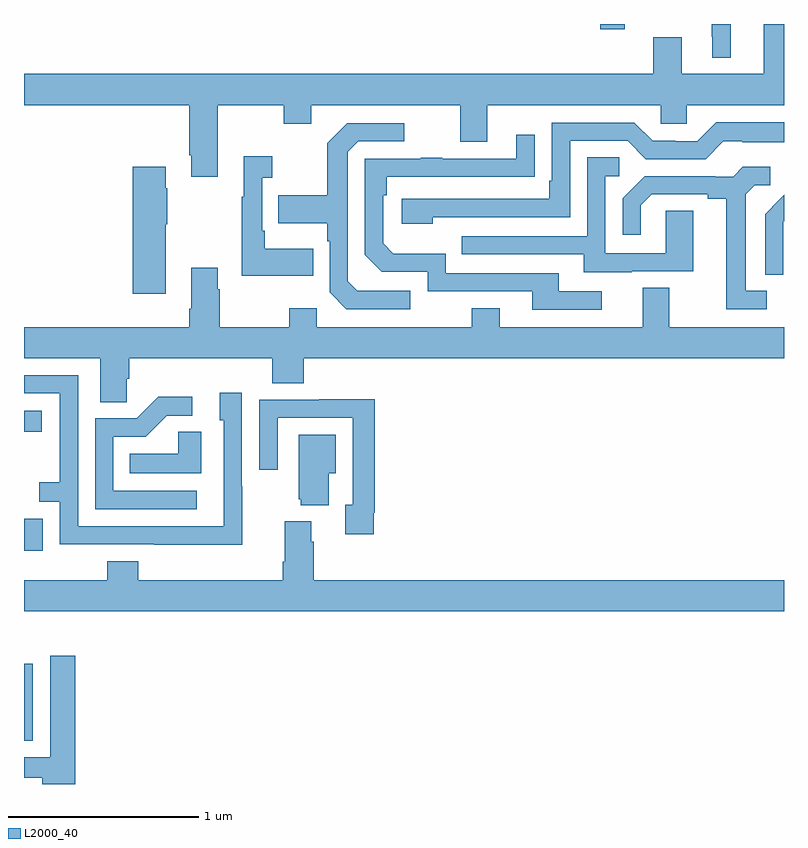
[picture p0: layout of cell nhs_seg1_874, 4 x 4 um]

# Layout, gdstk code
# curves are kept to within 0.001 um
import gdstk
lib = gdstk.Library(unit=1e-6, precision=1e-09)
def R(c, l, rs):  # rectangles x0, y0, x1, y1
    for r in rs: c.add(gdstk.rectangle(r[:2], r[2:], *l))
def P(c, l, *ps):  # polygons
    for p in ps: c.add(gdstk.Polygon(p, *l))
L2000_40 = (2000, 40)

nhs_seg1_874 = lib.new_cell('nhs_seg1_874')
R(nhs_seg1_874, L2000_40, [(159,508.426,159.046,508.831), (159,509.427,159.099,509.595), (159,510.053,159.094,510.163), (162.032,512.172,162.163,512.199)])
P(nhs_seg1_874, L2000_40, [(162.721,512.199),(162.619,512.199),(162.619,512.131),(162.623,512.131),(162.623,512.021),(162.721,512.021)],
  [(160.021,511.772),(160.366,511.772),(160.366,511.673),(160.513,511.673),(160.513,511.772),(161.297,511.772),(161.297,511.578),(161.437,511.578),(161.437,511.772),(162.351,511.772),(162.351,511.674),(162.489,511.674),(162.489,511.772),(163,511.772),(163,512.199),(162.893,512.199),(162.893,511.936),(162.463,511.936),(162.463,512.128),(162.311,512.128),(162.311,511.936),(159,511.936),(159,511.772),(159.869,511.772),(159.869,511.507),(159.881,511.507),(159.881,511.395),(160.021,511.395)],
  [(161.15,511.182),(161.874,511.182),(161.874,511.584),(162.177,511.584),(162.273,511.488),(162.588,511.488),(162.681,511.581),(162.781,511.581),(162.781,511.577),(163,511.577),(163,511.681),(162.643,511.681),(162.543,511.581),(162.428,511.581),(162.428,511.584),(162.309,511.584),(162.213,511.68),(161.778,511.68),(161.778,511.375),(161.765,511.375),(161.765,511.278),(160.989,511.278),(160.989,511.148),(161.15,511.148)],
  [(161.032,510.795),(160.755,510.795),(160.704,510.846),(160.704,511.527),(160.758,511.581),(161.002,511.581),(161.002,511.677),(160.701,511.677),(160.596,511.571),(160.596,511.299),(160.339,511.299),(160.339,511.151),(160.596,511.151),(160.596,511.055),(160.608,511.055),(160.608,510.786),(160.695,510.699),(161.032,510.699)],
  [(162.04,510.792),(161.815,510.792),(161.815,510.888),(161.22,510.888),(161.22,510.991),(160.943,510.991),(160.89,511.044),(160.89,511.298),(160.91,511.298),(160.91,511.395),(161.687,511.396),(161.687,511.615),(161.591,511.615),(161.591,511.491),(161.201,511.491),(161.201,511.496),(161.089,511.496),(161.089,511.491),(160.794,511.491),(160.794,510.984),(160.884,510.894),(161.124,510.894),(161.124,510.792),(161.675,510.792),(161.675,510.696),(162.04,510.696)],
  [(160.523,511.015),(160.267,511.015),(160.267,511.111),(160.254,511.111),(160.254,511.391),(160.306,511.391),(160.306,511.504),(160.157,511.504),(160.157,511.291),(160.146,511.291),(160.146,510.875),(160.523,510.875)],
  [(162.199,510.897),(162.523,510.897),(162.523,511.217),(162.378,511.217),(162.378,510.993),(162.06,510.993),(162.06,511.398),(162.133,511.398),(162.133,511.499),(161.964,511.499),(161.964,511.083),(161.305,511.083),(161.305,510.987),(161.945,510.987),(161.945,510.893),(162.199,510.893)],
  [(159.745,511.145),(159.753,511.145),(159.753,511.334),(159.745,511.334),(159.745,511.447),(159.572,511.447),(159.572,510.78),(159.745,510.78)],
  [(162.91,510.795),(162.799,510.795),(162.799,511.303),(162.846,511.35),(162.928,511.35),(162.928,511.447),(162.784,511.447),(162.732,511.395),(162.638,511.395),(162.638,511.398),(162.266,511.398),(162.15,511.282),(162.15,511.089),(162.247,511.089),(162.247,511.245),(162.304,511.302),(162.599,511.302),(162.599,511.28),(162.695,511.28),(162.695,510.699),(162.91,510.699)],
  [(162.996,511.034),(162.995,511.034),(162.995,511.157),(163,511.162),(163,511.3),(162.972,511.272),(162.973,511.271),(162.9,511.198),(162.9,510.88),(162.996,510.88)],
  [(159.54,510.331),(159.554,510.331),(159.554,510.44),(160.307,510.44),(160.307,510.307),(160.472,510.307),(160.472,510.44),(163,510.44),(163,510.604),(162.397,510.604),(162.397,510.812),(162.257,510.812),(162.257,510.604),(161.503,510.604),(161.503,510.703),(161.356,510.703),(161.356,510.604),(160.542,510.604),(160.542,510.703),(160.396,510.703),(160.396,510.604),(160.029,510.604),(160.029,510.803),(160.021,510.803),(160.021,510.916),(159.881,510.916),(159.881,510.7),(159.869,510.7),(159.869,510.604),(159,510.604),(159,510.44),(159.401,510.44),(159.401,510.208),(159.54,510.208)],
  [(160.149,509.765),(160.146,509.765),(160.146,510.259),(160.031,510.259),(160.031,510.114),(160.05,510.114),(160.05,509.556),(159.285,509.556),(159.285,510.351),(159,510.351),(159,510.255),(159.189,510.255),(159.189,509.786),(159.079,509.786),(159.079,509.685),(159.189,509.685),(159.189,509.46),(159.685,509.46),(159.685,509.459),(160.149,509.459)],
  [(159.91,509.742),(159.471,509.742),(159.471,510.027),(159.64,510.027),(159.751,510.138),(159.886,510.138),(159.886,510.236),(159.707,510.236),(159.594,510.123),(159.375,510.123),(159.375,509.646),(159.91,509.646)],
  [(160.84,509.626),(160.847,509.626),(160.847,510.224),(160.555,510.224),(160.555,510.222),(160.239,510.222),(160.239,509.853),(160.335,509.853),(160.335,510.126),(160.731,510.126),(160.731,509.67),(160.691,509.67),(160.691,509.514),(160.84,509.514)],
  [(159.934,510.053),(159.813,510.053),(159.813,509.938),(159.556,509.938),(159.556,509.834),(159.934,509.834)],
  [(160.603,509.834),(160.642,509.834),(160.642,510.037),(160.445,510.037),(160.445,509.697),(160.457,509.697),(160.457,509.666),(160.603,509.666)],
  [(163,509.272),(160.526,509.272),(160.526,509.474),(160.513,509.474),(160.513,509.581),(160.373,509.581),(160.373,509.368),(160.361,509.368),(160.361,509.272),(159.602,509.272),(159.602,509.371),(159.437,509.371),(159.437,509.272),(159,509.272),(159,509.108),(163,509.108)],
  [(159.269,508.873),(159.137,508.873),(159.137,508.341),(159,508.341),(159,508.233),(159.095,508.233),(159.095,508.199),(159.269,508.199)])

lib.write_gds('nhs_seg1_874.gds')
